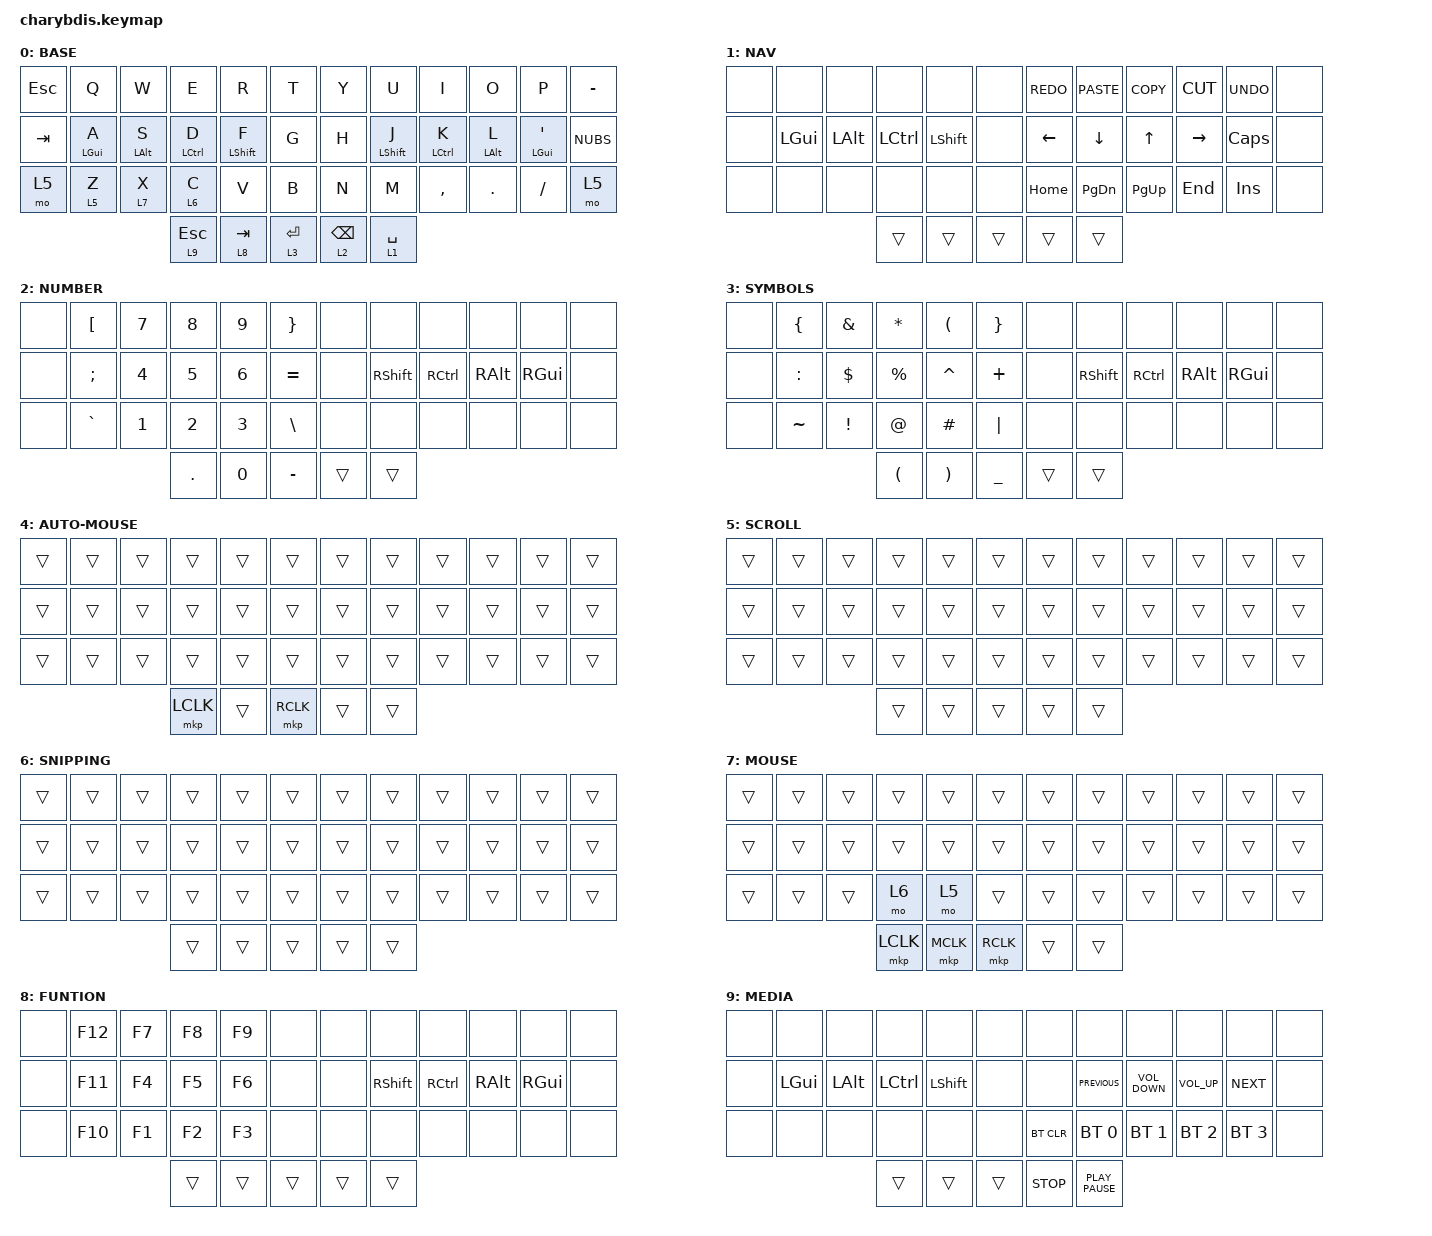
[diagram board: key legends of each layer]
#include <behaviors/mouse_keys.dtsi>
#include <behaviors.dtsi>
#include <dt-bindings/zmk/bt.h>
#include <dt-bindings/zmk/keys.h>
#include <dt-bindings/zmk/mouse.h>

#define U_TAPPING_TERM 180

/ {
    chosen { zmk,matrix_transform = &default_transform; };
};

/ {
    behaviors {
        u_mt: u_mt {
            compatible = "zmk,behavior-hold-tap";
            label = "u_mt";
            #binding-cells = <2>;
            tapping_term_ms = <U_TAPPING_TERM>;
            flavor = "tap-preferred";
            bindings = <&kp>, <&kp>;
        };

        u_lt: u_lt {
            compatible = "zmk,behavior-hold-tap";
            label = "u_lt";
            #binding-cells = <2>;
            tapping_term_ms = <U_TAPPING_TERM>;
            flavor = "tap-preferred";
            bindings = <&mo>, <&kp>;
        };

        Shift_Enter: Shift_Enter {
            compatible = "zmk,behavior-hold-tap";
            label = "SHIFT_ENTER";
            bindings = <&kp>, <&kp>;

            #binding-cells = <2>;
            hold-trigger-key-positions = <40>;
            tapping-term-ms = <100>;
        };
    };

    keymap {
        compatible = "zmk,keymap";

        BASE {
            bindings = <
&kp ESC  &kp Q         &kp W         &kp E          &kp R          &kp T           &kp Y            &kp U          &kp I          &kp O         &kp P           &kp MINUS
&kp TAB  &u_mt LGUI A  &u_mt LALT S  &u_mt LCTRL D  &u_mt LSHFT F  &kp G           &kp H            &u_mt LSHFT J  &u_mt LCTRL K  &u_mt LALT L  &u_mt LGUI SQT  &kp NUBS
&mo 5    &lt 5 Z       &lt 7 X       &lt 6 C        &kp V          &kp B           &kp N            &kp M          &kp COMMA      &kp DOT       &kp SLASH       &mo 5
                                     &lt 9 ESC      &lt 8 TAB      &lt 3 RETURN    &lt 2 BACKSPACE  &lt 1 SPACE
            >;
        };

        NAV {
            bindings = <
&none  &none         &none         &none             &none           &none     &kp K_REDO  &kp K_PASTE    &kp K_COPY   &kp K_CUT  &kp K_UNDO    &none
&none  &kp LEFT_GUI  &kp LEFT_ALT  &kp LEFT_CONTROL  &kp LEFT_SHIFT  &none     &kp LEFT    &kp DOWN       &kp UP       &kp RIGHT  &kp CAPSLOCK  &none
&none  &none         &none         &none             &none           &none     &kp HOME    &kp PAGE_DOWN  &kp PAGE_UP  &kp END    &kp INSERT    &none
                                   &trans            &trans          &trans    &trans      &trans
            >;
        };

        NUMBER {
            bindings = <
&none  &kp LEFT_BRACKET  &kp NUMBER_7  &kp NUMBER_8  &kp NUMBER_9  &kp RIGHT_BRACE    &none   &none            &none              &none          &none          &none
&none  &kp SEMI          &kp NUMBER_4  &kp N5        &kp NUMBER_6  &kp EQUAL          &none   &kp RIGHT_SHIFT  &kp RIGHT_CONTROL  &kp RIGHT_ALT  &kp RIGHT_GUI  &none
&none  &kp GRAVE         &kp NUMBER_1  &kp NUMBER_2  &kp NUMBER_3  &kp BACKSLASH      &none   &none            &none              &none          &none          &none
                                       &kp DOT       &kp NUMBER_0  &kp MINUS          &trans  &trans
            >;
        };

        SYMBOLS {
            bindings = <
&none  &kp LEFT_BRACE  &kp AMPERSAND  &kp STAR              &kp LEFT_PARENTHESIS   &kp RIGHT_BRACE    &none   &none            &none              &none          &none          &none
&none  &kp COLON       &kp DOLLAR     &kp PERCENT           &kp CARET              &kp PLUS           &none   &kp RIGHT_SHIFT  &kp RIGHT_CONTROL  &kp RIGHT_ALT  &kp RIGHT_GUI  &none
&none  &kp TILDE       &kp EXCL       &kp AT                &kp HASH               &kp PIPE           &none   &none            &none              &none          &none          &none
                                      &kp LEFT_PARENTHESIS  &kp RIGHT_PARENTHESIS  &kp UNDER          &trans  &trans
            >;
        };

        AUTO-MOUSE {
            bindings = <
&trans  &trans  &trans  &trans     &trans  &trans       &trans  &trans  &trans  &trans  &trans  &trans
&trans  &trans  &trans  &trans     &trans  &trans       &trans  &trans  &trans  &trans  &trans  &trans
&trans  &trans  &trans  &trans     &trans  &trans       &trans  &trans  &trans  &trans  &trans  &trans
                        &mkp LCLK  &trans  &mkp RCLK    &trans  &trans
            >;
        };

        SCROLL {
            bindings = <
&trans  &trans  &trans  &trans  &trans  &trans    &trans  &trans  &trans  &trans  &trans  &trans
&trans  &trans  &trans  &trans  &trans  &trans    &trans  &trans  &trans  &trans  &trans  &trans
&trans  &trans  &trans  &trans  &trans  &trans    &trans  &trans  &trans  &trans  &trans  &trans
                        &trans  &trans  &trans    &trans  &trans
            >;
        };

        SNIPPING {
            bindings = <
&trans  &trans  &trans  &trans  &trans  &trans    &trans  &trans  &trans  &trans  &trans  &trans
&trans  &trans  &trans  &trans  &trans  &trans    &trans  &trans  &trans  &trans  &trans  &trans
&trans  &trans  &trans  &trans  &trans  &trans    &trans  &trans  &trans  &trans  &trans  &trans
                        &trans  &trans  &trans    &trans  &trans
            >;
        };

        MOUSE {
            bindings = <
&trans  &trans  &trans  &trans     &trans     &trans       &trans  &trans  &trans  &trans  &trans  &trans
&trans  &trans  &trans  &trans     &trans     &trans       &trans  &trans  &trans  &trans  &trans  &trans
&trans  &trans  &trans  &mo 6      &mo 5      &trans       &trans  &trans  &trans  &trans  &trans  &trans
                        &mkp LCLK  &mkp MCLK  &mkp RCLK    &trans  &trans
            >;
        };

        FUNTION {
            bindings = <
&none  &kp F12  &kp F7  &kp F8  &kp F9  &none     &none   &none            &none              &none          &none          &none
&none  &kp F11  &kp F4  &kp F5  &kp F6  &none     &none   &kp RIGHT_SHIFT  &kp RIGHT_CONTROL  &kp RIGHT_ALT  &kp RIGHT_GUI  &none
&none  &kp F10  &kp F1  &kp F2  &kp F3  &none     &none   &none            &none              &none          &none          &none
                        &trans  &trans  &trans    &trans  &trans
            >;
        };

        MEDIA {
            bindings = <
&none  &none         &none         &none             &none       &none     &none       &none             &none              &none            &none         &none
&none  &kp LEFT_GUI  &kp LEFT_ALT  &kp LEFT_CONTROL  &kp LSHIFT  &none     &none       &kp K_PREVIOUS    &kp C_VOLUME_DOWN  &kp C_VOLUME_UP  &kp K_NEXT    &none
&none  &none         &none         &none             &none       &none     &bt BT_CLR  &bt BT_SEL 0      &bt BT_SEL 1       &bt BT_SEL 2     &bt BT_SEL 3  &none
                                   &trans            &trans      &trans    &kp K_STOP  &kp K_PLAY_PAUSE
            >;
        };
    };
};
